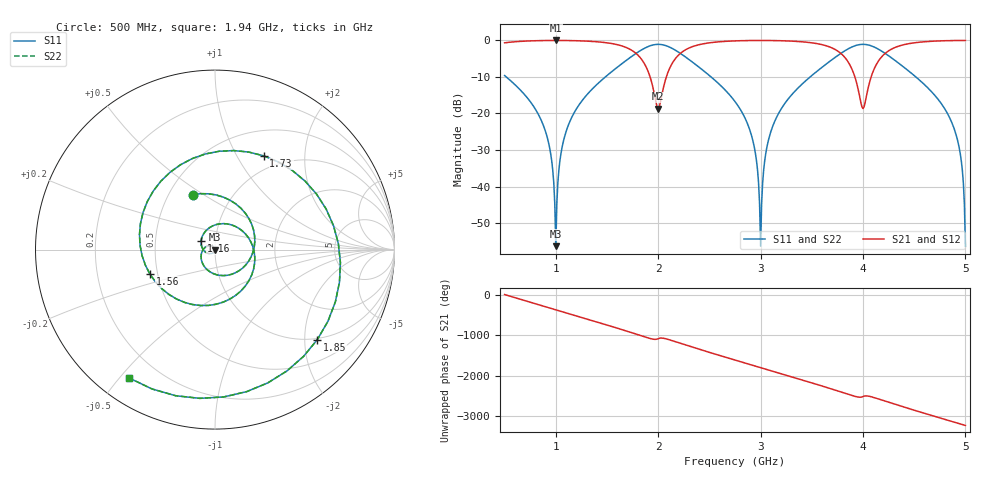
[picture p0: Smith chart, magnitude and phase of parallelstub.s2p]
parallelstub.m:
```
% script matrix1

% 500MHz - 5GHz
sweeppoints = 500e+6:10e+6:5e+9;

% port impedance
Z0 = 50 + 0j;

% common functions
addpath("../RFlib")

ts = sweep2ts(sweeppoints);

for fp = 1:length(sweeppoints)
    f = sweeppoints(fp);


    % 70 ohm 1GHz 1/4 wave orthogonal stub, terminated with 0.3 ohm (short)
    Mo = SeriesImpedanceMatrix(3); % Some simulated loss (3 ohms in series)
    Mo = Mo * TLineMatrix(70, f2rad(f, 1e+9)/4);
    Mo = Mo * ShuntImpedanceMatrix(0.3);

    % Main line
    M = TLineMatrix(Z0, f2rad(f, 1e+9));
    M = M * OrthogonalNetworkMatrix(Mo);
    M = M * TLineMatrix(Z0, f2rad(f, 1e+9));

    ts.points(fp).S = abcd2s(M, Z0);

end

plot2ports(ts, 51);

pause();

touchstonewrite([mfilename() '.s2p'], ts);
```
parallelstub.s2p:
! https://github.com/szoftveres
# Hz S RI R 50
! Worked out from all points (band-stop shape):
!   451 points, 500 MHz to 5 GHz, reference 50 ohm
!   highest |S21| = -0.01 dB at 1 GHz (marker M1); lowest = -18.7 dB at 2 GHz (marker M2)
!   |S21| within 3 dB of the highest: start of sweep to 1.758 GHz; 2.242 GHz to 3.758 GHz (1.517 GHz wide, 50.6 % of centre)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
!   lowest |S11| = -56.3 dB at 1 GHz (marker M3), VSWR 1.00, Z = 49.8 + j0 ohm
!   |S11| at or under -10 dB: 516.3 MHz to 1.484 GHz (967.3 MHz wide, 96.7 % of centre); 2.516 GHz to 3.484 GHz (967.3 MHz wide, 32.2 % of centre); 4.516 GHz to end of sweep
!   |S22| runs from -56.3 to -1.1 dB; largest |S21 - S12| = 0
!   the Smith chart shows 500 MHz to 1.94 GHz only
!   S11 on the Smith chart (normalised r, x): 500 MHz: 0.66, +0.45; 1.16 GHz: 0.85, +0.08; 1.56 GHz: 0.45, -0.15; 1.73 GHz: 0.81, +1.30; 1.85 GHz: 0.97, -2.30; 1.94 GHz: 0.10, -0.53
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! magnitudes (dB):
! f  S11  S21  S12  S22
! 500 MHz  -9.6  -0.7  -0.7  -9.6
! 1 GHz  -56.3  0.0  0.0  -56.3
! 1.16 GHz  -20.8  -0.1  -0.1  -20.8
! 1.56 GHz  -8.2  -0.9  -0.9  -8.2
! 1.73 GHz  -4.6  -2.5  -2.5  -4.6
! 1.85 GHz  -2.4  -5.7  -5.7  -2.4
! 1.94 GHz  -1.3  -11.9  -11.9  -1.3
! 2 GHz  -1.1  -18.7  -18.7  -1.1
! 2.75 GHz  -16.7  -0.1  -0.1  -16.7
! 4.14 GHz  -2.2  -6.1  -6.1  -2.2
! 5 GHz  -56.3  0.0  0.0  -56.3
